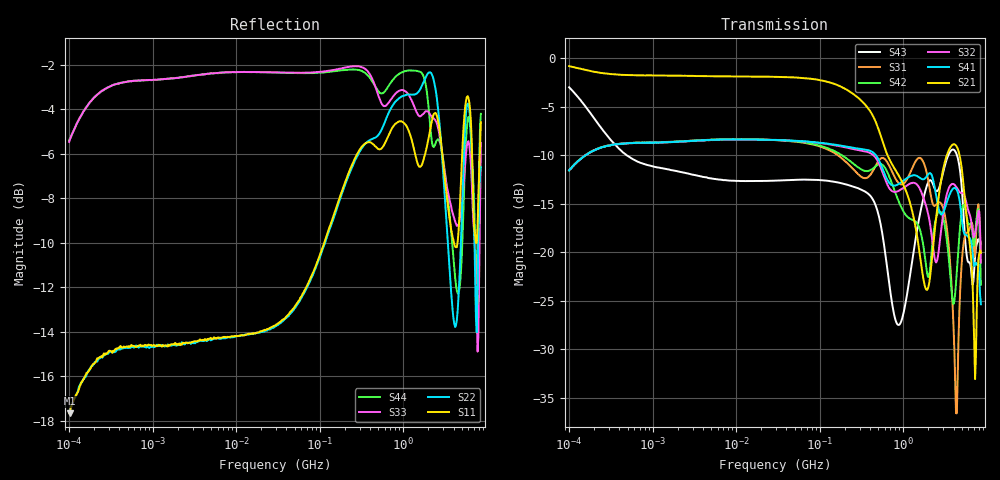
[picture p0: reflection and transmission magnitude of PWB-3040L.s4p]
# MHz S MA R 50
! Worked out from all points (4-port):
!   498 points, 100 kHz to 8.5 GHz, reference 50 ohm
!   strongest paths, dB at 100 kHz, 1.698 MHz, 29.49 MHz, 500.7 MHz, 8.5 GHz:
!     S21: -0.8, -1.8, -1.9, -7.2, -20.1
!     S41: -11.6, -8.7, -8.4, -10.4, -25.4
!     S32: -11.6, -8.7, -8.5, -10.7, -21.1
!     S42: -11.5, -8.6, -8.5, -11.0, -23.4
!     S31: -11.6, -8.6, -8.5, -10.7, -20.1
!     S43: -3.0, -11.6, -12.6, -16.0, -19.1
!   lowest |S11| = -17.7 dB at 102.3 kHz (marker M1), VSWR 1.30, Z = 59.4 + j10.9 ohm
!   |S11| at or under -10 dB: start of sweep to 113.7 MHz; 4.048 GHz to 4.462 GHz (413.9 MHz wide, 9.73 % of centre); 7.407 GHz to 7.585 GHz (177.8 MHz wide, 2.37 % of centre)
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0.1  0.1309 44.7  0.9075 -5.9  0.2634 44.6  0.263 -135.5
     0.9075 -5.9  0.1322 47.3  0.2639 -135.9  0.2649 43.8
     0.2634 44.6  0.2639 -135.9  0.5323 42.9  0.7063 -31.0
     0.263 -135.5  0.2649 43.8  0.7063 -31.0  0.5366 42.9
0.1023101  0.1308 43.4  0.9055 -5.9  0.2673 44.3  0.267 -135.8
           0.9055 -5.9  0.1327 45.6  0.2673 -136.2  0.2679 43.8
           0.2673 44.3  0.2673 -136.2  0.5397 42.3  0.6994 -31.6
           0.267 -135.8  0.2679 43.8  0.6994 -31.6  0.5426 42.5
210.2067  0.4412 8.5  0.687 -53.1  0.2894 -35.7  0.349 116.4
          0.687 -53.1  0.436 9.0  0.3452 116.1  0.3034 -38.7
          0.2894 -35.7  0.3452 116.1  0.7835 -22.3  0.2227 -55.7
          0.349 116.4  0.3034 -38.7  0.2227 -55.7  0.7732 -22.8
1718.441  0.4798 -149.4  0.07533 22.6  0.2941 178.7  0.2371 -133.5
          0.07533 22.6  0.72 -151.5  0.194 -145.2  0.1114 169.9
          0.2941 178.7  0.194 -145.2  0.6142 -156.3  0.1842 -50.1
          0.2371 -133.5  0.1114 169.9  0.1842 -50.1  0.753 -169.8
4284.188  0.3088 -5.0  0.3537 -25.2  0.01476 -39.9  0.2117 -52.9
          0.3537 -25.2  0.2065 -42.5  0.2175 -30.2  0.06924 -1.7
          0.01476 -39.9  0.2175 -30.2  0.3486 -37.8  0.3246 -29.9
          0.2117 -52.9  0.06924 -1.7  0.3246 -29.9  0.2538 -49.0
6316.557  0.6283 -152.4  0.106 91.6  0.1339 162.0  0.1175 101.2
          0.106 91.6  0.6005 -139.4  0.1536 111.5  0.1398 112.2
          0.1339 162.0  0.1536 111.5  0.5031 -129.5  0.08712 130.0
          0.1175 101.2  0.1398 112.2  0.08712 130.0  0.5827 -138.0
8500  0.5892 -60.4  0.09936 -24.7  0.09897 -89.7  0.05382 -124.9
      0.09936 -24.7  0.4671 -52.0  0.08819 -144.1  0.06783 -139.3
      0.09897 -89.7  0.08819 -144.1  0.5298 -38.5  0.1104 -111.0
      0.05382 -124.9  0.06783 -139.3  0.1104 -111.0  0.6156 -58.9
